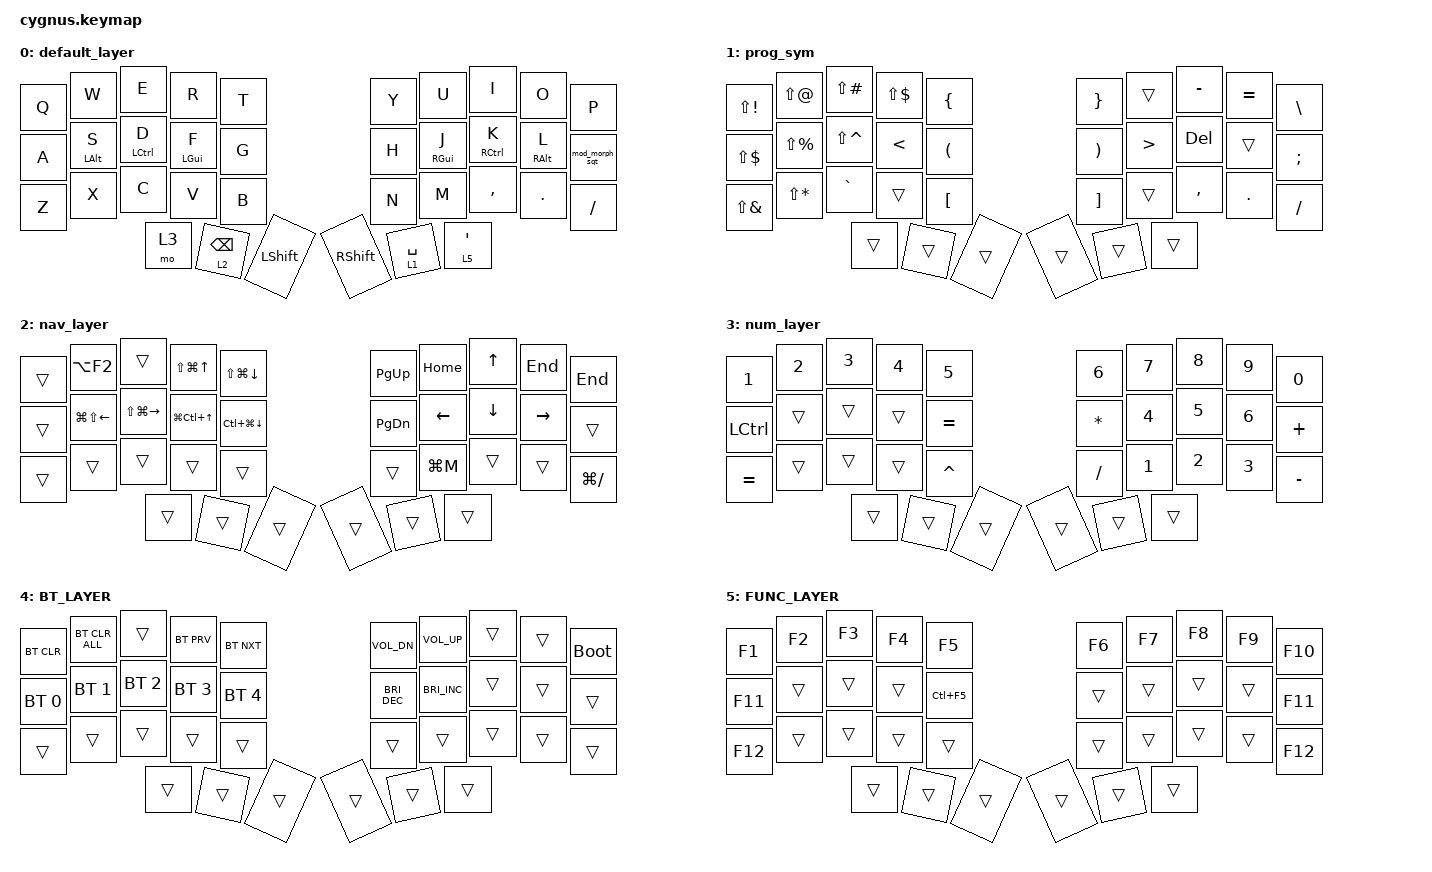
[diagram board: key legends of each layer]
#include <behaviors/rgbled_widget.dtsi>
#include <behaviors.dtsi>
#include <dt-bindings/zmk/bt.h>
#include <dt-bindings/zmk/keys.h>

/ {
    //    combos {
    //        compatible = "zmk,combos";
    //
    //        bluetooth {
    //            bindings = <&mo 3>;
    //            key-positions = <41 36>;
    //        };
    //
    //        bt2 {
    //            bindings = <&mo 3>;
    //            key-positions = <48 53>;
    //        };
    //    };
    //
    //    behaviors {
    //        hml: hml {
    //            compatible = "zmk,behavior-hold-tap";
    //            label = "HOME_ROW_LEFT";
    //            bindings = <&kp>, <&kp>;
    //
    //            #binding-cells = <2>;
    //            hold-trigger-key-positions = <6 7 8 9 10 11 18 19 20 21 22 23 30 31 32 33 34 35 42 43 44 45 46 47>;
    //            tapping-term-ms = <180>;
    //            quick-tap-ms = <175>;
    //            require-prior-idle-ms = <150>;
    //            flavor = "balanced";
    //            hold-trigger-on-release;
    //        };
    //
    //        hmr: hmr {
    //            compatible = "zmk,behavior-hold-tap";
    //            label = "HOME_ROW_RIGHT";
    //            bindings = <&kp>, <&kp>;
    //
    //            #binding-cells = <2>;
    //            tapping-term-ms = <180>;
    //            quick-tap-ms = <175>;
    //            require-prior-idle-ms = <150>;
    //            flavor = "balanced";
    //            hold-trigger-key-positions = <0 1 2 3 4 5 12 13 14 15 16 17 24 25 26 27 28 29 36 37 38 39 40 41>;
    //            hold-trigger-on-release;
    //        };
    //    };
    //

    combos {
        compatible = "zmk,combos";

        enter_combo {
            bindings = <&kp ENTER>;
            key-positions = <16 17 18>;
            require-prior-idle-ms = <50>;
        };

        tab_combo {
            bindings = <&kp TAB>;
            key-positions = <11 12 13>;
            require-prior-idle-ms = <50>;
        };

        esc_combo {
            bindings = <&kp ESCAPE>;
            key-positions = <1 2>;
            require-prior-idle-ms = <50>;
        };

        print_scr {
            bindings = <&kp PRINTSCREEN>;
            key-positions = <5 6>;
        };
    };

    behaviors {
        modtap_behave: modtap_behave {
            compatible = "zmk,behavior-hold-tap";
            label = "MODTAP_BEHAVE";
            bindings = <&kp>, <&kp>;

            #binding-cells = <2>;
            quick-tap-ms = <180>;
            require-prior-idle-ms = <100>;
            flavor = "tap-preferred";
            tapping-term-ms = <175>;
        };

        mod_morph_sqt: mod_morph_sqt {
            compatible = "zmk,behavior-mod-morph";
            label = "MOD_MORPH_SQT";
            bindings = <&kp SEMICOLON>, <&kp SINGLE_QUOTE>;

            #binding-cells = <0>;
            mods = <(MOD_LALT)>;
        };
    };

    keymap {
        compatible = "zmk,keymap";

        default_layer {
            // -----------------------------------------------------------------------------------------
            //  |  Q  |  W  |  E  |  R  |  T  |   |  Y  |  U   |  I  |  O  |  P  |
            //  |  A  |  S  |  D  |  F  |  G  |   |  H  |  J   |  K  |  L  |  ;  |
            //  |  Z  |  X  |  C  |  V  |  B  |   |  N  |  M   |  ,  |  .  |  /  |
            //              | GUI | LWR | SPC |   | ENT | RSE  | ALT |

            bindings = <
&kp Q  &kp W                      &kp E                   &kp R                  &kp T           &kp Y            &kp U                  &kp I                   &kp O                       &kp P
&kp A  &modtap_behave LEFT_ALT S  &modtap_behave LCTRL D  &modtap_behave LGUI F  &kp G           &kp H            &modtap_behave RGUI J  &modtap_behave RCTRL K  &modtap_behave RIGHT_ALT L  &mod_morph_sqt
&kp Z  &kp X                      &kp C                   &kp V                  &kp B           &kp N            &kp M                  &kp COMMA               &kp DOT                     &kp FSLH
                                  &mo 3                   &lt 2 BACKSPACE        &kp LEFT_SHIFT  &kp RIGHT_SHIFT  &lt 1 SPACE            &lt 5 SQT
            >;
        };

        prog_sym {
            bindings = <
&kp LS(EXCL)  &kp LS(AT)     &kp LS(POUND)  &kp LS(DLLR)   &kp LEFT_BRACE        &kp RIGHT_BRACE        &trans            &kp MINUS  &kp EQUAL  &kp BSLH
&kp LS(DLLR)  &kp LS(PRCNT)  &kp LS(CARET)  &kp LESS_THAN  &kp LEFT_PARENTHESIS  &kp RIGHT_PARENTHESIS  &kp GREATER_THAN  &kp DEL    &trans     &kp SEMI
&kp LS(AMPS)  &kp LS(STAR)   &kp GRAVE      &trans         &kp LBKT              &kp RBKT               &trans            &kp COMMA  &kp DOT    &kp FSLH
                             &trans         &trans         &trans                &trans                 &trans            &trans
            >;
        };

        nav_layer {
            bindings = <
&trans  &kp LA(F2)        &trans             &kp LS(LG(UP_ARROW))  &kp LS(LG(DOWN))  &kp PG_UP  &kp HOME   &kp UP    &kp END    &kp END
&trans  &kp LG(LS(LEFT))  &kp LS(LG(RIGHT))  &kp LG(LC(UP))        &kp LC(LG(DOWN))  &kp PG_DN  &kp LEFT   &kp DOWN  &kp RIGHT  &trans
&trans  &trans            &trans             &trans                &trans            &trans     &kp LG(M)  &trans    &trans     &kp LG(SLASH)
                          &trans             &trans                &trans            &trans     &trans     &trans
            >;
        };

        num_layer {
            // -----------------------------------------------------------------------------------------
            //  |  TAB  |  2  |  3  |  4  |  5  |   |  9  |  8  |  7  |  0  | BKSP |
            //  | CTRL  |     |     |     | BT1 |   |  6  |  5  |  4  |     |      |
            //  | SHFT  | BT2 | BT3 | BT4 | BT5 |   |  3  |  2  |  1  |     |      |
            //                |BTCLR|     | SPC |   | ENT |     | ALT |

            bindings = <
&kp N1     &kp N2  &kp N3  &kp N4  &kp N5     &kp N6        &kp N7  &kp N8  &kp N9  &kp N0
&kp LCTRL  &trans  &trans  &trans  &kp EQUAL  &kp ASTERISK  &kp N4  &kp N5  &kp N6  &kp PLUS
&kp EQUAL  &trans  &trans  &trans  &kp CARET  &kp FSLH      &kp N1  &kp N2  &kp N3  &kp MINUS
                   &trans  &trans  &trans     &trans        &trans  &trans
            >;
        };

        BT_LAYER {
            bindings = <
&bt BT_CLR    &bt BT_CLR_ALL  &trans        &bt BT_PRV    &bt BT_NXT    &kp C_VOL_DN          &kp C_VOL_UP          &trans  &trans  &bootloader
&bt BT_SEL 0  &bt BT_SEL 1    &bt BT_SEL 2  &bt BT_SEL 3  &bt BT_SEL 4  &kp C_BRIGHTNESS_DEC  &kp C_BRIGHTNESS_INC  &trans  &trans  &trans
&trans        &trans          &trans        &trans        &trans        &trans                &trans                &trans  &trans  &trans
                              &trans        &trans        &trans        &trans                &trans                &trans
            >;
        };

        FUNC_LAYER {
            bindings = <
&kp F1   &kp F2  &kp F3  &kp F4  &kp F5      &kp F6  &kp F7  &kp F8  &kp F9  &kp F10
&kp F11  &trans  &trans  &trans  &kp LC(F5)  &trans  &trans  &trans  &trans  &kp F11
&kp F12  &trans  &trans  &trans  &trans      &trans  &trans  &trans  &trans  &kp F12
                 &trans  &trans  &trans      &trans  &trans  &trans
            >;
        };
    };

    conditional_layers {
        compatible = "zmk,conditional-layers";

        BT_LYR_COMBO {
            if-layers = <1 2>;
            then-layer = <4>;
        };
    };
};
